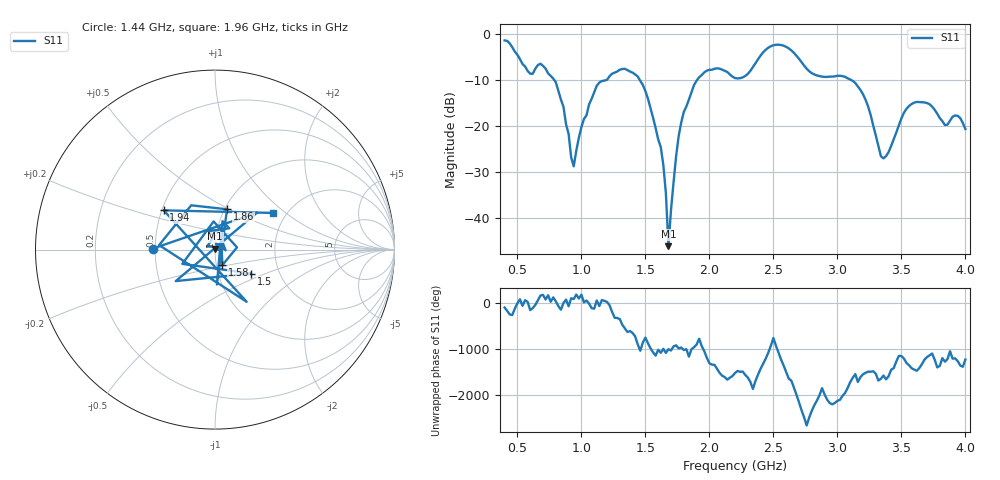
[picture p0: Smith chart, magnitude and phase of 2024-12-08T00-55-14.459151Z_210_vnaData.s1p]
!Created with skrf (http://scikit-rf.org).
# Hz S RI R 50.0
!freq ReS11 ImS11
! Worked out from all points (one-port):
!   181 points, 400 MHz to 4 GHz, reference 50 ohm
!   lowest |S11| = -46.1 dB at 1.68 GHz (marker M1), VSWR 1.01, Z = 50.1 + j0.48 ohm
!   |S11| at or under -10 dB: 788.6 MHz to 1.191 GHz (402.2 MHz wide, 40.6 % of centre); 1.457 GHz to 1.903 GHz (446 MHz wide, 26.5 % of centre); 3.11 GHz to end of sweep
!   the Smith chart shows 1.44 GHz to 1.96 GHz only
!   S11 on the Smith chart (normalised r, x): 1.44 GHz: 0.49, +0.01; 1.5 GHz: 1.43, -0.41; 1.58 GHz: 1.07, -0.19; 1.86 GHz: 1.03, +0.49; 1.94 GHz: 0.51, +0.26; 1.96 GHz: 1.71, +0.82
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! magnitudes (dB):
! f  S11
! 400 MHz  -1.4
! 600 MHz  -8.6
! 720 MHz  -7.5
! 860 MHz  -15.8
! 940 MHz  -28.7
! 1 GHz  -20.2
! 1.12 GHz  -11.2
! 1.3 GHz  -7.7
! 1.44 GHz  -9.2
! 1.5 GHz  -12.4
! 1.58 GHz  -20.4
! 1.64 GHz  -28.4
! 1.66 GHz  -34.6
! 1.68 GHz  -46.1
! 1.76 GHz  -22.1
! 1.86 GHz  -12.6
! 1.94 GHz  -8.9
! 1.96 GHz  -8.3
! 2.2 GHz  -9.5
! 2.48 GHz  -2.6
! 2.66 GHz  -4.1
! 2.82 GHz  -8.8
! 3.1 GHz  -9.9
! 3.22 GHz  -14.3
! 3.36 GHz  -27.0
! 3.56 GHz  -15.6
! 3.7 GHz  -15.0
! 4 GHz  -20.6
